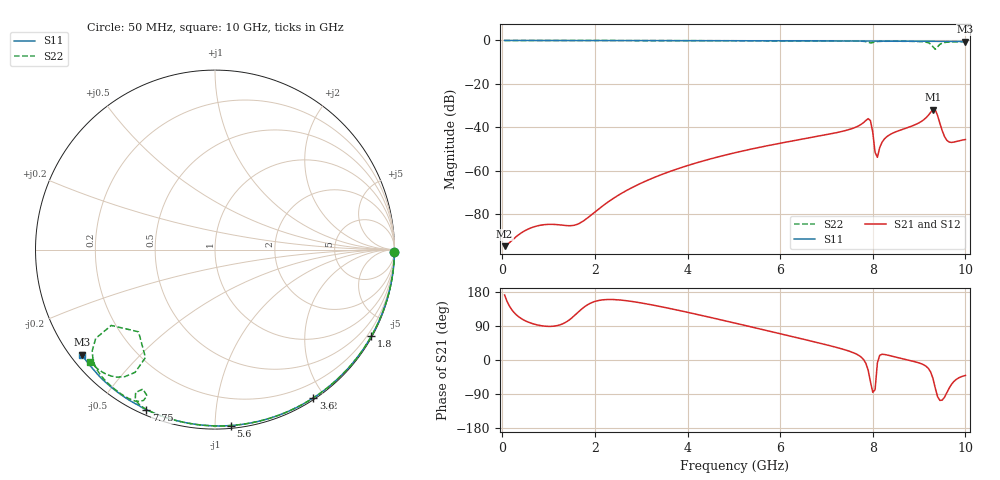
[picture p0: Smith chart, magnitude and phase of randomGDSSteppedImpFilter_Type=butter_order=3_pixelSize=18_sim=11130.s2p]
! freq	dB(S11)	phase(S11)	dB(S12)	phase(S12)
!  dB(S21)	phase(S21)	dB(S22)	phase(S22)
!S-par simulation data
#  GHz  S  DB  R 50
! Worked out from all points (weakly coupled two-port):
!   200 points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, 50 MHz to 10 GHz, reference 50 ohm
!   highest |S21| = -31.90 dB at 9.3 GHz (marker M1); lowest = -94.9 dB at 50 MHz (marker M2)
!   lowest |S11| = -0.5 dB at 10 GHz (marker M3), VSWR 35.48, Z = 1.58 - j17.3 ohm
!   |S11| at or under -10 dB: nowhere
!   |S22| runs from -4.1 to 0.0 dB; largest |S21 - S12| = 0
!   S11 on the Smith chart (normalised r, x): 50 MHz: open; 1.8 GHz: 0.03, -3.87; 3.6 GHz: 0.02, -1.86; 5.6 GHz: 0.02, -1.09; 7.75 GHz: 0.02, -0.66; 10 GHz: 0.03, -0.35
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0.05  -0.00 -0.8  -94.87 171.6  -94.87 171.6  -0.00 -0.8
1.75  -0.04 -28.2  -83.27 138.1  -83.27 138.1  -0.04 -28.2
1.8  -0.04 -28.9  -82.50 142.5  -82.50 142.5  -0.04 -29.0
1.95  -0.04 -31.3  -79.96 152.3  -79.96 152.3  -0.04 -31.4
2.65  -0.05 -42.2  -69.58 156.9  -69.58 156.9  -0.05 -42.3
3.4  -0.07 -53.5  -62.17 141.4  -62.17 141.4  -0.07 -53.7
3.6  -0.08 -56.5  -60.57 136.4  -60.57 136.4  -0.08 -56.7
5.05  -0.12 -77.3  -51.65 96.7  -51.65 96.7  -0.12 -77.7
5.6  -0.14 -84.9  -49.09 80.9  -49.09 80.9  -0.14 -85.3
6.7  -0.19 -99.6  -44.65 49.0  -44.65 49.0  -0.19 -100.3
7.75  -0.26 -113.2  -38.67 7.6  -38.67 7.6  -0.34 -115.8
7.95  -0.29 -115.7  -36.97 -57.5  -36.97 -57.5  -1.16 -117.3
8  -0.30 -116.3  -42.39 -85.3  -42.39 -85.3  -0.93 -114.9
8.05  -0.30 -116.9  -51.65 -78.1  -51.65 -78.1  -0.63 -115.4
8.1  -0.30 -117.5  -53.88 -7.3  -53.88 -7.3  -0.49 -116.5
8.2  -0.30 -118.8  -46.93 15.1  -46.93 15.1  -0.39 -118.5
8.35  -0.31 -120.7  -43.68 12.0  -43.68 12.0  -0.36 -121.2
9.05  -0.37 -129.5  -37.34 -10.0  -37.34 -10.0  -0.55 -134.4
9.3  -0.40 -132.7  -31.90 -48.8  -31.90 -48.8  -2.90 -143.8
9.4  -0.42 -134.0  -34.66 -96.9  -34.66 -96.9  -2.91 -122.8
9.6  -0.44 -136.5  -46.07 -86.3  -46.07 -86.3  -0.81 -129.4
10  -0.49 -141.7  -45.69 -40.8  -45.69 -40.8  -0.58 -138.1
